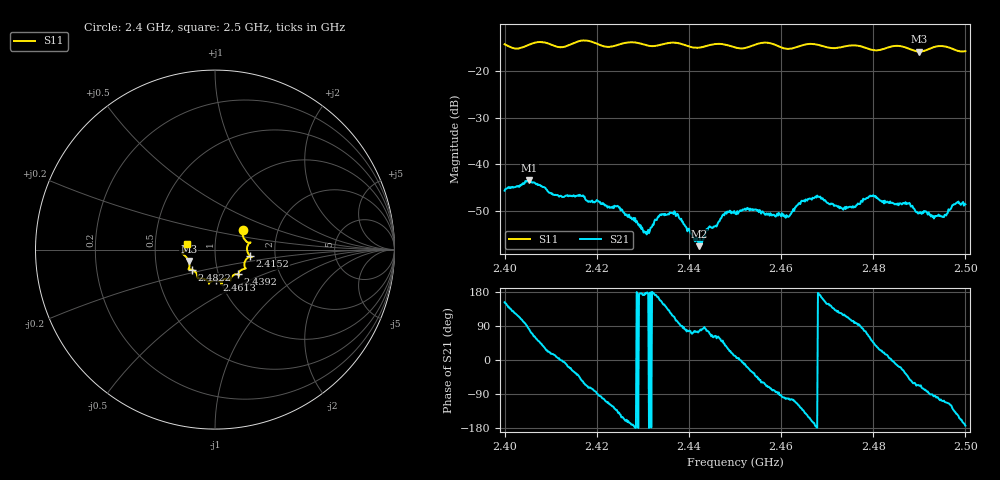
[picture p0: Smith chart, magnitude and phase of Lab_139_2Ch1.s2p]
# Hz S RI R 50
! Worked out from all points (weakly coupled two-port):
!   601 points, 2.4 GHz to 2.5 GHz, reference 50 ohm
!   highest |S21| = -43.41 dB at 2.4053 GHz (marker M1); lowest = -57.4 dB at 2.4422 GHz (marker M2)
!   lowest |S11| = -15.9 dB at 2.49 GHz (marker M3), VSWR 1.38, Z = 36.9 - j4.82 ohm
!   |S11| at or under -10 dB: start of sweep to end of sweep
!   S12 and S22 are empty: the file has one direction only
!   S11 on the Smith chart (normalised r, x): 2.4 GHz: 1.33, +0.31; 2.4152 GHz: 1.48, -0.11; 2.4392 GHz: 1.24, -0.35; 2.4613 GHz: 0.96, -0.34; 2.4822 GHz: 0.76, -0.17; 2.5 GHz: 0.73, +0.05
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2.4e9  0.1556 0.1112  -0.00466 0.00245  0 0  0 0
2.405333e9  0.1855 0.039  0.00104 0.00668  0 0  0 0
2.415167e9  0.1955 -0.0364  0.00388 -0.00242  0 0  0 0
2.416667e9  0.205 -0.0423  0.00279 -0.00367  0 0  0 0
2.4245e9  0.1643 -0.0918  -0.00258 -0.00254  0 0  0 0
2.4305e9  0.1523 -0.1105  -0.00187 0.000106  0 0  0 0
2.433333e9  0.1318 -0.1321  -0.0027 0.000663  0 0  0 0
2.4365e9  0.1349 -0.1466  -0.00137 0.00273  0 0  0 0
2.439167e9  0.1271 -0.1376  0.000363 0.00218  0 0  0 0
2.442167e9  0.0973 -0.1466  0.00034 0.0013  0 0  0 0
2.447833e9  0.0845 -0.1699  0.0024 0.00189  0 0  0 0
2.45e9  0.0691 -0.1633  0.003 0.000578  0 0  0 0
2.461333e9  0.00748 -0.1709  -0.000548 -0.00274  0 0  0 0
2.466667e9  -0.0337 -0.1902  -0.004 -0.00135  0 0  0 0
2.4735e9  -0.0824 -0.1603  -0.00155 0.00291  0 0  0 0
2.479667e9  -0.1045 -0.1305  0.0029 0.00361  0 0  0 0
2.482167e9  -0.1282 -0.1118  0.00385 0.00138  0 0  0 0
2.483333e9  -0.1394 -0.1102  0.00392 0.000499  0 0  0 0
2.49e9  -0.1467 -0.0636  0.00114 -0.00281  0 0  0 0
2.495333e9  -0.1811 -0.02  -0.000813 -0.00262  0 0  0 0
2.497667e9  -0.1674 -0.00427  -0.00271 -0.0026  0 0  0 0
2.5e9  -0.1581 0.0338  -0.00373 -0.000443  0 0  0 0
